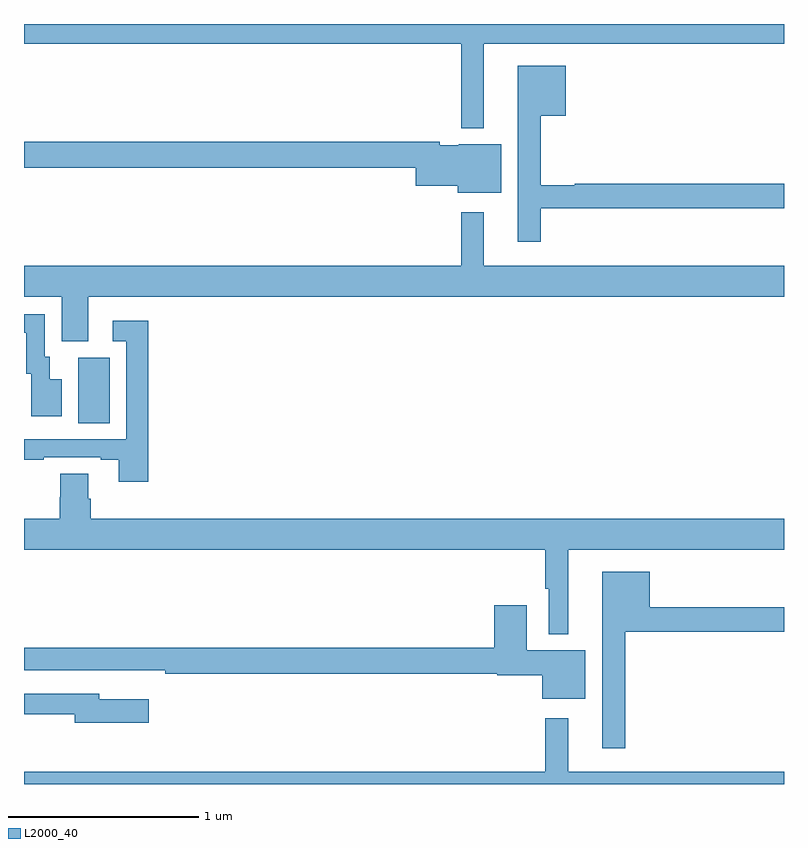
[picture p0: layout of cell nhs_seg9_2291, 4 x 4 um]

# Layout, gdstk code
import gdstk
lib = gdstk.Library(unit=1e-6, precision=1e-09)
def R(c, l, rs):  # rectangles x0, y0, x1, y1
    for r in rs: c.add(gdstk.rectangle(r[:2], r[2:], *l))
def P(c, l, *ps):  # polygons
    for p in ps: c.add(gdstk.Polygon(p, *l))
L2000_40 = (2000, 40)

nhs_seg9_2291 = lib.new_cell('nhs_seg9_2291')
R(nhs_seg9_2291, L2000_40, [(241.286,1218.4,241.45,1218.744)])
P(nhs_seg9_2291, L2000_40, [(243.421,1220.396),(245,1220.396),(245,1220.5),(241,1220.5),(241,1220.396),(243.3,1220.396),(243.3,1219.952),(243.421,1219.952)],
  [(243.721,1219.53),(245,1219.53),(245,1219.658),(243.899,1219.658),(243.899,1219.651),(243.721,1219.651),(243.721,1220.018),(243.85,1220.018),(243.85,1220.281),(243.599,1220.281),(243.599,1219.353),(243.721,1219.353)],
  [(243.511,1219.867),(243.288,1219.867),(243.288,1219.861),(243.188,1219.861),(243.188,1219.88),(241,1219.88),(241,1219.744),(243.062,1219.744),(243.062,1219.649),(243.284,1219.649),(243.284,1219.613),(243.511,1219.613)],
  [(241.339,1219.064),(245,1219.064),(245,1219.228),(243.421,1219.228),(243.421,1219.51),(243.3,1219.51),(243.3,1219.228),(241,1219.228),(241,1219.064),(241.199,1219.064),(241.199,1218.829),(241.339,1218.829)],
  [(241.198,1218.631),(241.135,1218.631),(241.135,1218.75),(241.11,1218.75),(241.11,1218.972),(241,1218.972),(241,1218.876),(241.013,1218.876),(241.013,1218.66),(241.037,1218.66),(241.037,1218.435),(241.198,1218.435)],
  [(241.655,1218.937),(241.467,1218.937),(241.467,1218.831),(241.539,1218.831),(241.539,1218.315),(241,1218.315),(241,1218.207),(241.103,1218.207),(241.103,1218.219),(241.403,1218.219),(241.403,1218.207),(241.499,1218.207),(241.499,1218.09),(241.655,1218.09)],
  [(243.865,1217.732),(245,1217.732),(245,1217.896),(241.352,1217.896),(241.352,1218.002),(241.339,1218.002),(241.339,1218.134),(241.192,1218.134),(241.192,1218.009),(241.187,1218.009),(241.187,1217.896),(241,1217.896),(241,1217.732),(243.744,1217.732),(243.744,1217.527),(243.761,1217.527),(243.761,1217.288),(243.865,1217.288)],
  [(244.165,1217.302),(245,1217.302),(245,1217.431),(244.294,1217.431),(244.294,1217.617),(244.043,1217.617),(244.043,1216.689),(244.165,1216.689)],
  [(243.955,1217.203),(243.646,1217.203),(243.646,1217.44),(243.476,1217.44),(243.476,1217.216),(241,1217.216),(241,1217.1),(241.492,1217.1),(241.492,1217.099),(241.744,1217.099),(241.744,1217.08),(243.492,1217.08),(243.492,1217.072),(243.728,1217.072),(243.728,1216.949),(243.955,1216.949)],
  [(241.657,1216.945),(241.396,1216.945),(241.396,1216.974),(241,1216.974),(241,1216.866),(241.268,1216.866),(241.268,1216.823),(241.657,1216.823)],
  [(245,1216.564),(243.865,1216.564),(243.865,1216.846),(243.744,1216.846),(243.744,1216.564),(241,1216.564),(241,1216.5),(245,1216.5)])

lib.write_gds('nhs_seg9_2291.gds')
